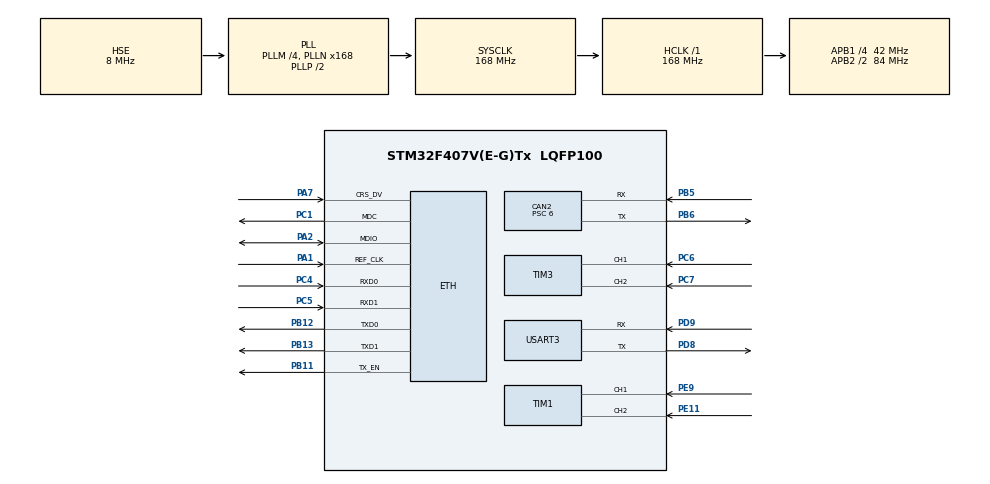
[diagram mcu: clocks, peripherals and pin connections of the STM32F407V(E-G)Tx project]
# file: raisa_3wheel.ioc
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CAN2.BS1=CAN_BS1_11TQ
CAN2.BS2=CAN_BS2_2TQ
CAN2.CalculateBaudRate=500000
CAN2.CalculateTimeBit=2000
CAN2.CalculateTimeQuantum=142.85714285714286
CAN2.Mode=CAN_MODE_NORMAL
CAN2.Prescaler=6
ETH.MACAddr=10\:20\:30\:40\:50\:60
ETH.MediaInterface=HAL_ETH_RMII_MODE
ETH.RxBuffLen=1536
LWIP.BSP.number=1
LWIP.GATEWAY_ADDRESS=192.168.050.001
LWIP.IP_ADDRESS=192.168.050.002
LWIP.LWIP_DHCP=0
LWIP.NETMASK_ADDRESS=255.255.255.000
LWIP.Version=v2.1.2_Cube
LWIP0.BSP.STBoard=false
LWIP0.BSP.api=BSP_COMPONENT_DRIVER
LWIP0.BSP.component=LAN8742
LWIP0.BSP.instance=LAN8742
LWIP0.BSP.name=Driver_PHY
LWIP0.BSP.semaphore=S_LAN8742
LWIP0.BSP.solution=LAN8742
Mcu.Family=STM32F4
Mcu.Name=STM32F407V(E-G)Tx
Mcu.Package=LQFP100
NVIC.CAN2_RX0_IRQn=true\:0\:0\:false\:false\:true\:true\:true\:true
NVIC.ETH_IRQn=true\:0\:0\:false\:false\:true\:true\:true\:true
NVIC.PriorityGroup=NVIC_PRIORITYGROUP_4
NVIC.TIM6_DAC_IRQn=true\:0\:0\:false\:false\:true\:true\:true\:true
NVIC.TIM7_IRQn=true\:0\:0\:false\:false\:true\:true\:true\:true
PA1.Mode=RMII
PA1.Signal=ETH_REF_CLK
PA13.Mode=Serial_Wire
PA13.Signal=SYS_JTMS-SWDIO
PA14.Mode=Serial_Wire
PA14.Signal=SYS_JTCK-SWCLK
PA2.Mode=RMII
PA2.Signal=ETH_MDIO
PA7.Mode=RMII
PA7.Signal=ETH_CRS_DV
PB11.Mode=RMII
PB11.Signal=ETH_TX_EN
PB12.Mode=RMII
PB12.Signal=ETH_TXD0
PB13.Mode=RMII
PB13.Signal=ETH_TXD1
PB5.GPIO_PuPd=GPIO_PULLUP
PB5.Mode=CAN_Activate
PB5.Signal=CAN2_RX
PB6.GPIO_PuPd=GPIO_PULLUP
PB6.Mode=CAN_Activate
PB6.Signal=CAN2_TX
PC1.Mode=RMII
PC1.Signal=ETH_MDC
PC4.Mode=RMII
PC4.Signal=ETH_RXD0
PC5.Mode=RMII
PC5.Signal=ETH_RXD1
PC6.GPIO_PuPd=GPIO_PULLUP
PC6.GPIO_Speed=GPIO_SPEED_FREQ_LOW
PC6.Signal=S_TIM3_CH1
PC7.GPIO_PuPd=GPIO_PULLUP
PC7.Signal=S_TIM3_CH2
PD0.GPIO_PuPd=GPIO_PULLUP
PD0.Signal=CAN1_RX
PD1.GPIO_PuPd=GPIO_PULLUP
PD1.Signal=CAN1_TX
PD8.Mode=Asynchronous
PD8.Signal=USART3_TX
PD9.Mode=Asynchronous
PD9.Signal=USART3_RX
PE11.GPIO_PuPd=GPIO_PULLUP
PE11.Signal=S_TIM1_CH2
PE9.GPIO_PuPd=GPIO_PULLUP
PE9.Signal=S_TIM1_CH1
PH0-OSC_IN.Mode=HSE-External-Oscillator
PH0-OSC_IN.Signal=RCC_OSC_IN
PH1-OSC_OUT.Mode=HSE-External-Oscillator
PH1-OSC_OUT.Signal=RCC_OSC_OUT
ProjectManager.HeapSize=0x200
ProjectManager.StackSize=0x400
ProjectManager.TargetToolchain=STM32CubeIDE
RCC.48MHZClocksFreq_Value=84000000
RCC.AHBFreq_Value=168000000
RCC.APB1CLKDivider=RCC_HCLK_DIV4
RCC.APB1Freq_Value=42000000
RCC.APB1TimFreq_Value=84000000
RCC.APB2CLKDivider=RCC_HCLK_DIV2
RCC.APB2Freq_Value=84000000
RCC.APB2TimFreq_Value=168000000
RCC.CortexFreq_Value=168000000
RCC.HCLKFreq_Value=168000000
RCC.HSE_VALUE=8000000
RCC.HSI_VALUE=16000000
RCC.LSE_VALUE=32768
RCC.PLLM=4
RCC.PLLN=168
RCC.PLLSourceVirtual=RCC_PLLSOURCE_HSE
RCC.SYSCLKFreq_VALUE=168000000
RCC.SYSCLKSource=RCC_SYSCLKSOURCE_PLLCLK
RCC.VCOOutputFreq_Value=336000000
SH.S_TIM1_CH1.0=TIM1_CH1,Encoder_Interface
SH.S_TIM1_CH2.0=TIM1_CH2,Encoder_Interface
SH.S_TIM3_CH1.0=TIM3_CH1,Encoder_Interface
SH.S_TIM3_CH2.0=TIM3_CH2,Encoder_Interface
TIM1.EncoderMode=TIM_ENCODERMODE_TI12
TIM1.IC1Filter=7
TIM1.IC2Filter=7
TIM3.EncoderMode=TIM_ENCODERMODE_TI12
TIM6.Period=999
TIM6.Prescaler=83
TIM6.TIM_MasterOutputTrigger=TIM_TRGO_UPDATE
TIM7.Period=9999
TIM7.Prescaler=167
USART3.VirtualMode=VM_ASYNC
VP_LWIP_VS_Enabled.Mode=Enabled
VP_TIM6_VS_ClockSourceINT.Mode=Enable_Timer
VP_TIM7_VS_ClockSourceINT.Mode=Enable_Timer
board=custom

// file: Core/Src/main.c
/* USER CODE BEGIN Header */
/**
  ******************************************************************************
  * @file           : main.c
  * @brief          : Main program body
  ******************************************************************************
  * @attention
  *
  * Copyright (c) 2024 STMicroelectronics.
  * All rights reserved.
  *
  * This software is licensed under terms that can be found in the LICENSE file
  * in the root directory of this software component.
  * If no LICENSE file comes with this software, it is provided AS-IS.
  *
  ******************************************************************************
  */
/* USER CODE END Header */
#include "main.h"
#include "can.h"
#include "lwip.h"
#include "tim.h"
#include "usart.h"
#include "gpio.h"

/* USER CODE BEGIN Includes */
#include "stdlib.h"
#include "string.h"
#include "math.h"
#include "motorZLG.h"
#include "stdio.h"
#include "lwip/udp.h"
#include "udp_server.h"
#include "ZLAC8015_CAN.h"
/* USER CODE END Includes */

/* USER CODE BEGIN PD */
#define DISCHARGE 0
#define CHARGE 1
/* USER CODE END PD */

/* USER CODE BEGIN PV */
//motor
ZLAC8015_typedef motorDriver[3], single;
uint16_t RotEnc[2];
int32_t ZL8051_velSP[3], singleVel;
int32_t ZL8051_ENC[3];

uint16_t BuffENC[3];

int16_t velocity[3];
int16_t testVel[3];
int16_t vel;
float WheelSpeed_SP[3];

//udp
uint32_t PC_TimeConnection, timer_od;

char pc_recv[64];
char pc_send[64];

struct udp_pcb *upcb;
uint32_t epochKirim;

int statusUDP;

//variabel pc to stm
uint32_t PC_Epoch;
uint8_t PC_Mode, prev_PC_Mode;
int16_t PC_Speed_X, PC_Speed_Y, PC_Speed_Q;

//batrai
uint32_t timerS;

uint8_t BMS_Trans[21] = {0x4E, 0x57, 0x00, 0x13 ,0x00 ,0x00, 0x00 ,0x00 ,0x06 ,0x03 ,0x00 ,0x00 ,0x00 ,0x00 ,0x00 ,0x00 ,0x68 ,0x00 ,0x00 ,0x01 ,0x29};
uint8_t BMS_Recv[300];
uint16_t BMS_Len;

float BMS_Voltage,BMS_SOC,BMS_Current;
float BMS_Cell[8];

uint8_t ChargingStatus;

uint32_t x;

/* USER CODE END PV */

void SystemClock_Config(void);
/* USER CODE BEGIN PFP */
void raisa_3_wheel_kine(int16_t Vx, int16_t Vy, int16_t Vz);

/* USER CODE END PFP */

int main(void)
{

  /* MCU Configuration--------------------------------------------------------*/

  /* Reset of all peripherals, Initializes the Flash interface and the Systick. */
  HAL_Init();

  /* Configure the system clock */
  SystemClock_Config();

  /* Initialize all configured peripherals */
  MX_GPIO_Init();
  MX_TIM6_Init();
  MX_TIM7_Init();
  MX_LWIP_Init();
  MX_TIM3_Init();
  MX_TIM1_Init();
  MX_CAN2_Init();
  MX_USART3_UART_Init();
  /* USER CODE BEGIN 2 */
  ZL_InitCANBus();
  ZLAC8015_init(&motorDriver[0], &hcan2, 1, 0);
  ZLAC8015_init(&motorDriver[1], &hcan2, 1, 1);
  ZLAC8015_init(&motorDriver[2], &hcan2, 2, 0); //liat id nya

  HAL_TIM_Encoder_Start(&htim1, TIM_CHANNEL_ALL);
  HAL_TIM_Encoder_Start(&htim3, TIM_CHANNEL_ALL);

  HAL_TIM_Base_Start_IT(&htim6);
  HAL_TIM_Base_Start_IT(&htim7);

  HAL_Delay(1000);

  udp_server_init((uint8_t*)pc_recv, (uint8_t*)pc_send, 9798, 64);

  for(int i=0; i<3; i++)
  {
	  ZLAC8015_Enable(&motorDriver[i]);
  }

  /* USER CODE END 2 */

  /* Infinite loop */
  /* USER CODE BEGIN WHILE */
  while (1)
  {

//	  v = z;
	  PC_TimeConnection = HAL_GetTick() - UDP_Recv_TimeStamp;
	  if(PC_TimeConnection < 600)
	  {
		  statusUDP = 1;
	  }
	  else
	  {
		  statusUDP = 0;
	  }
		if(prev_PC_Mode != 0 && PC_Mode == 0)
		{
			  for(int i=0; i<3; i++)
			  {
				  ZLAC8015_Disable(&motorDriver[i]);
			  }
		}
		else if(prev_PC_Mode == 0 && PC_Mode != 0)
		{
			  for(int i=0; i<3; i++)
			  {
				  ZLAC8015_Enable(&motorDriver[i]);
			  }
		}
		prev_PC_Mode = PC_Mode;

	  if(HAL_GetTick() - timer_od > 2)
	  {
		  timer_od = HAL_GetTick();
		  for(int i=0;i<3;i++)
		  {
			  ZLAC8015_SetSpeed(&motorDriver[i], motorDriver[i].Axis, ZL8051_velSP[i]);
			  HAL_Delay(1);
			  ZLAC8015_Request_Enc(&motorDriver[i], motorDriver[i].Axis);
			  HAL_Delay(1);
		  }
	  }

	  if (HAL_GetTick() - timerS > 100)
	  {
		  timerS = HAL_GetTick();

		  HAL_UART_Transmit(&huart3, BMS_Trans, sizeof(BMS_Trans), 500);
		  HAL_UARTEx_ReceiveToIdle(&huart3,BMS_Recv , sizeof(BMS_Recv), &BMS_Len, 500);

		  if(BMS_Len==267 && BMS_Recv[0] == 0x4E && BMS_Recv[1] ==0x57 && BMS_Recv[2] == 0x01)
		  {

			  BMS_Voltage = (BMS_Recv[47]<<8 | BMS_Recv[48]) * 0.01;
			  BMS_SOC = BMS_Recv[53];
			  BMS_Current = ((BMS_Recv[51] + BMS_Recv[50]*256) & 0xfff) * -0.01;

			  BMS_Cell[0] = (BMS_Recv[14]<<8 | BMS_Recv[15]) * 0.001;
			  BMS_Cell[1] = (BMS_Recv[17]<<8 | BMS_Recv[18]) * 0.001;
			  BMS_Cell[2] = (BMS_Recv[20]<<8 | BMS_Recv[21]) * 0.001;
			  BMS_Cell[3] = (BMS_Recv[23]<<8 | BMS_Recv[24]) * 0.001;
			  BMS_Cell[4] = (BMS_Recv[26]<<8 | BMS_Recv[27]) * 0.001;
			  BMS_Cell[5] = (BMS_Recv[29]<<8 | BMS_Recv[30]) * 0.001;
			  BMS_Cell[6] = (BMS_Recv[32]<<8 | BMS_Recv[33]) * 0.001;
			  BMS_Cell[7] = (BMS_Recv[35]<<8 | BMS_Recv[36]) * 0.001;

			  if(BMS_Current < -5.0 && BMS_Current >=-20.0)
				  ChargingStatus = CHARGE;
			  else if(BMS_Current <= 0 && BMS_Current > -5.0)
				  ChargingStatus = DISCHARGE;
			  else
				  ChargingStatus = 0;
		  }

	  }
//
//
//
	  MX_LWIP_Process();
    /* USER CODE END WHILE */

  }
}

void SystemClock_Config(void)
{
  RCC_OscInitTypeDef RCC_OscInitStruct = {0};
  RCC_ClkInitTypeDef RCC_ClkInitStruct = {0};

  /** Configure the main internal regulator output voltage
  */
  __HAL_RCC_PWR_CLK_ENABLE();
  __HAL_PWR_VOLTAGESCALING_CONFIG(PWR_REGULATOR_VOLTAGE_SCALE1);

  /** Initializes the RCC Oscillators according to the specified parameters
  * in the RCC_OscInitTypeDef structure.
  */
  RCC_OscInitStruct.OscillatorType = RCC_OSCILLATORTYPE_HSE;
  RCC_OscInitStruct.HSEState = RCC_HSE_ON;
  RCC_OscInitStruct.PLL.PLLState = RCC_PLL_ON;
  RCC_OscInitStruct.PLL.PLLSource = RCC_PLLSOURCE_HSE;
  RCC_OscInitStruct.PLL.PLLM = 4;
  RCC_OscInitStruct.PLL.PLLN = 168;
  RCC_OscInitStruct.PLL.PLLP = RCC_PLLP_DIV2;
  RCC_OscInitStruct.PLL.PLLQ = 4;
  if (HAL_RCC_OscConfig(&RCC_OscInitStruct) != HAL_OK)
  {
    Error_Handler();
  }

  /** Initializes the CPU, AHB and APB buses clocks
  */
  RCC_ClkInitStruct.ClockType = RCC_CLOCKTYPE_HCLK|RCC_CLOCKTYPE_SYSCLK
                              |RCC_CLOCKTYPE_PCLK1|RCC_CLOCKTYPE_PCLK2;
  RCC_ClkInitStruct.SYSCLKSource = RCC_SYSCLKSOURCE_PLLCLK;
  RCC_ClkInitStruct.AHBCLKDivider = RCC_SYSCLK_DIV1;
  RCC_ClkInitStruct.APB1CLKDivider = RCC_HCLK_DIV4;
  RCC_ClkInitStruct.APB2CLKDivider = RCC_HCLK_DIV2;

  if (HAL_RCC_ClockConfig(&RCC_ClkInitStruct, FLASH_LATENCY_5) != HAL_OK)
  {
    Error_Handler();
  }
}

/* USER CODE BEGIN 4 */
void HAL_CAN_RxFifo0MsgPendingCallback(CAN_HandleTypeDef *hcan)
{
	HAL_CAN_GetRxMessage(hcan, CAN_RX_FIFO0, &RxMsg, CAN_RxData);

	if(RxMsg.StdId == 0x581)
	{
		if(CAN_RxData[0] == 0x43 && CAN_RxData[1] == 0x64 &&
		   CAN_RxData[2] == 0x60 && CAN_RxData[3] == 0x01)
		{
			memcpy(&ZL8051_ENC[0],CAN_RxData+4,4);
		}
		else if(CAN_RxData[0] == 0x43 && CAN_RxData[1] == 0x64 &&
				CAN_RxData[2] == 0x60 && CAN_RxData[3] == 0x02)
		{
			memcpy(&ZL8051_ENC[1],CAN_RxData+4,4);
		}

	}
	else if(RxMsg.StdId == 0x582)
	{
		if(CAN_RxData[0] == 0x43 && CAN_RxData[1] == 0x64 &&
		   CAN_RxData[2] == 0x60 && CAN_RxData[3] == 0x00)
		{
			memcpy(&ZL8051_ENC[2],CAN_RxData+4,4);
		}

	}

}

void HAL_TIM_PeriodElapsedCallback(TIM_HandleTypeDef *htim)
{

  if (htim->Instance == TIM6) // Timer Routine 1Khz
  {

		RotEnc[0] = TIM3->CNT;
		RotEnc[1] = TIM1->CNT;

//		x++;

//
	  	BuffENC[0] = ZL8051_ENC[0];
	  	BuffENC[1] = ZL8051_ENC[1];
	  	BuffENC[2] = ZL8051_ENC[2];

	  	//pc_send[0]-[3] is for epoch
		memcpy(pc_send+0, &epoch_kirim, 4);
		memcpy(pc_send+4, &BuffENC[0], 2); //motor 0 depan kiri
		memcpy(pc_send+6, &BuffENC[1] ,2); //motor 1 depan kanan
		memcpy(pc_send+8, &BuffENC[2] ,2); //motor 2
		memset(pc_send+10, 0, 2);
		memset(pc_send+12, 0, 4);
		memcpy(pc_send+16,&BMS_Voltage,4);
		memcpy(pc_send+20,&BMS_SOC,4);
		memcpy(pc_send+24, &ChargingStatus, 1);
		memset(pc_send+25, 0, 2);
		memcpy(pc_send+27,&RotEnc[1],2); //kanan
		memcpy(pc_send+29,&RotEnc[0],2); // kiri

  }
  else if (htim->Instance == TIM7) // Timer Routine 50Hz
  {

	  	// Variabel Raisa Dari PC Ke STM
		memcpy(&PC_Epoch, pc_recv, 4);
		memcpy(&PC_Mode, pc_recv + 4, 1);
		memcpy(&PC_Speed_X, pc_recv + 5, 2);
		memcpy(&PC_Speed_Y, pc_recv + 7, 2);
		memcpy(&PC_Speed_Q, pc_recv + 9, 2);
//
		if(PC_Speed_X > 1000)
			PC_Speed_X = 1000;
		else if(PC_Speed_X <-1000)
			PC_Speed_X = -1000;

		if(PC_Speed_Y > 1000)
			PC_Speed_Y = 1000;
		else if(PC_Speed_Y <-1000)
			PC_Speed_Y = -1000;

		if(PC_Speed_Q > 1000)
			PC_Speed_Q = 1000;
		else if(PC_Speed_Q <-1000)
			PC_Speed_Q = -1000;

		//IF UDP Connected
		if(statusUDP == 1)
		{
			velocity[0] = PC_Speed_X;
			velocity[1] = PC_Speed_Y;
			velocity[2] = PC_Speed_Q;
		}
		else
		{
			velocity[0] = 0;
			velocity[1] = 0;
			velocity[2] = 0;
			PC_Mode = 0;
		}

		if(PC_Mode==1)
		{
			raisa_3_wheel_kine(velocity[0], velocity[1], velocity[2]);
		}
		else if(PC_Mode==2)
		{
			ZL8051_velSP[0] = PC_Speed_X;
			ZL8051_velSP[1] = PC_Speed_Y;
			ZL8051_velSP[2] = PC_Speed_Q;
		}
		else
		{
			ZL8051_velSP[0] = 0;
			ZL8051_velSP[1] = 0;
			ZL8051_velSP[2] = 0;
		}
//		raisa_3_wheel_kine(testVel[0], testVel[1], testVel[2]);

  }
}

void raisa_3_wheel_kine(int16_t Vx, int16_t Vy, int16_t Vz){
    float degree[3] = {120,60,270};
    float R_omni = 1, dist = 1;

    WheelSpeed_SP[0] = (1/R_omni)*(cosf(degree[0]*0.01745)*(Vx) + sinf(degree[0]*0.01745)*(Vy) + dist*(Vz));
    WheelSpeed_SP[1] = (1/R_omni)*(cosf(degree[1]*0.01745)*(Vx) + sinf(degree[1]*0.01745)*(Vy) + dist*(Vz));
    WheelSpeed_SP[2] = (1/R_omni)*(cosf(degree[2]*0.01745)*(Vx) + sinf(degree[2]*0.01745)*(Vy) + dist*(Vz));

    for(int i=0; i<3; i++)
    {
    	ZL8051_velSP[i] = WheelSpeed_SP[i];
    }

}

//tidak jadi rescale

//int16_t ReScale_enc(int32_t rawData)
//{
//	int div = rawData / 4095;
//	int16_t result;
//
//	if(rawData > 4095)
//	{
//		result = rawData - (div * 4095);
//	}
//	else if( rawData < 0)
//	{
//		result = 4096 + (rawData - (div * 4095));
//	}
//	else
//	{
//		result = rawData;
//	}
//
//	return result;
//}

/* USER CODE END 4 */

void Error_Handler(void)
{
  __disable_irq();
  while (1)
  {
  }
}
